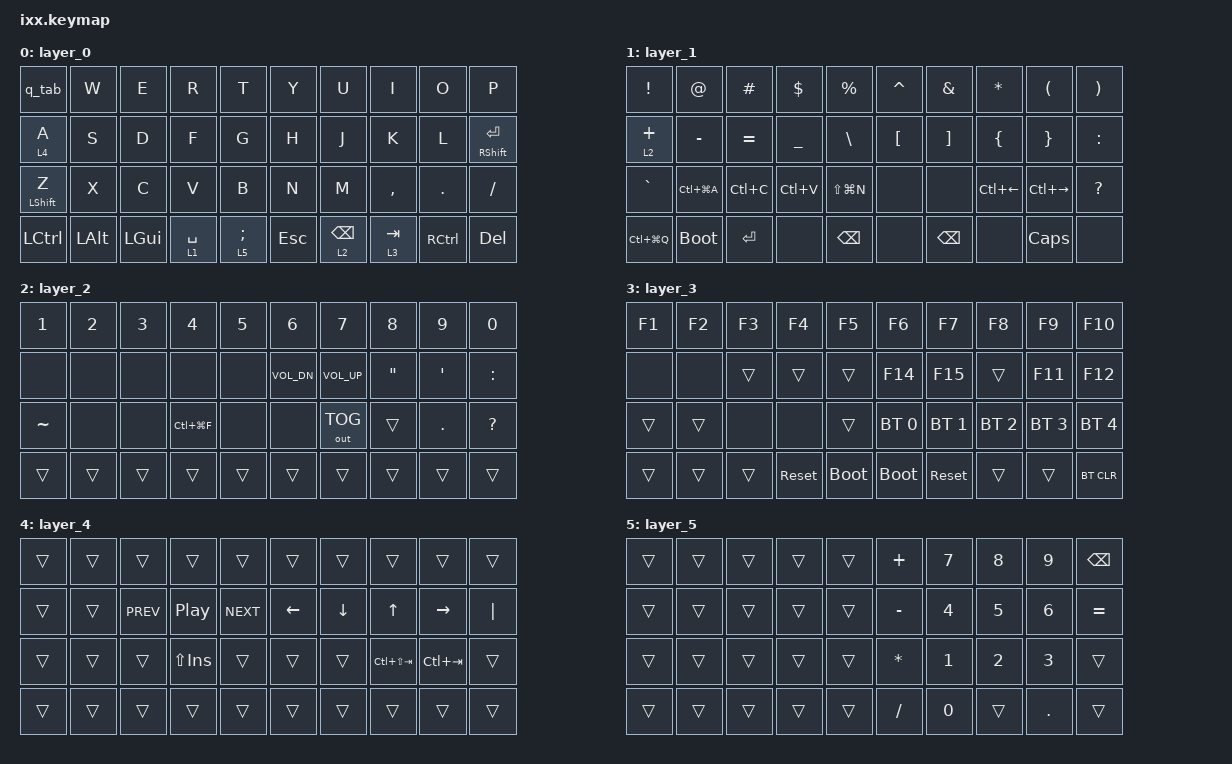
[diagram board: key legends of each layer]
#include <behaviors.dtsi>
#include <dt-bindings/zmk/bt.h>
#include <dt-bindings/zmk/keys.h>
#include <dt-bindings/zmk/outputs.h>

/ {
    behaviors {
        q_tab: q_tab {
            compatible = "zmk,behavior-mod-morph";
            label = "Q_TAB";
            bindings = <&kp Q>, <&kp TAB>;

            #binding-cells = <0>;
            mods = <(MOD_LGUI)>;
            keep-mods = <(MOD_LGUI)>;
        };
    };

    keymap {
        compatible = "zmk,keymap";

        layer_0 {
            bindings = <
  &q_tab            &kp W         &kp E         &kp R        &kp T         &kp Y    &kp U            &kp I      &kp O      &kp P
  &lt 4 A           &kp S         &kp D         &kp F        &kp G         &kp H    &kp J            &kp K      &kp L      &mt RIGHT_SHIFT RETURN
  &mt LEFT_SHIFT Z  &kp X         &kp C         &kp V        &kp B         &kp N    &kp M            &kp COMMA  &kp DOT    &kp SLASH
  &kp LCTRL         &kp LEFT_ALT  &kp LEFT_GUI  &lt 1 SPACE  &lt 5 SEMI    &kp ESC  &lt 2 BACKSPACE  &lt 3 TAB  &kp RCTRL  &kp DELETE
            >;
        };

        layer_1 {
            bindings = <
  &kp EXCLAMATION  &kp AT_SIGN    &kp HASH   &kp DOLLAR  &kp PERCENT      &kp CARET  &kp AMPS       &kp ASTRK     &kp LPAR       &kp RPAR
  &lt 2 PLUS       &kp MINUS      &kp EQUAL  &kp UNDER   &kp BSLH         &kp LBKT   &kp RBKT       &kp LBRC      &kp RBRC       &kp COLON
  &kp GRAVE        &kp LC(LG(A))  &kp LC(C)  &kp LC(V)   &kp LS(LG(N))    &none      &none          &kp LC(LEFT)  &kp LC(RIGHT)  &kp QMARK
  &kp LC(LG(Q))    &bootloader    &kp ENTER  &none       &kp BACKSPACE    &none      &kp BACKSPACE  &none         &kp CAPS       &none
            >;
        };

        layer_2 {
            bindings = <
  &kp NUMBER_1  &kp NUMBER_2  &kp NUMBER_3  &kp NUMBER_4   &kp NUMBER_5    &kp NUMBER_6  &kp NUMBER_7  &kp NUMBER_8       &kp NUMBER_9  &kp NUMBER_0
  &none         &none         &none         &none          &none           &kp C_VOL_DN  &kp C_VOL_UP  &kp DOUBLE_QUOTES  &kp SQT       &kp COLON
  &kp TILDE     &none         &none         &kp LC(LG(F))  &none           &none         &out OUT_TOG  &trans             &kp DOT       &kp QUESTION
  &trans        &trans        &trans        &trans         &trans          &trans        &trans        &trans             &trans        &trans
            >;
        };

        layer_3 {
            bindings = <
  &kp F1  &kp F2  &kp F3  &kp F4      &kp F5         &kp F6        &kp F7        &kp F8        &kp F9        &kp F10
  &none   &none   &trans  &trans      &trans         &kp F14       &kp F15       &trans        &kp F11       &kp F12
  &trans  &trans  &none   &none       &trans         &bt BT_SEL 0  &bt BT_SEL 1  &bt BT_SEL 2  &bt BT_SEL 3  &bt BT_SEL 4
  &trans  &trans  &trans  &sys_reset  &bootloader    &bootloader   &sys_reset    &trans        &trans        &bt BT_CLR
            >;
        };

        layer_4 {
            bindings = <
  &trans  &trans  &trans      &trans          &trans        &trans    &trans    &trans           &trans       &trans
  &trans  &trans  &kp C_PREV  &kp C_PP        &kp C_NEXT    &kp LEFT  &kp DOWN  &kp UP           &kp RIGHT    &kp PIPE
  &trans  &trans  &trans      &kp LS(INSERT)  &trans        &trans    &trans    &kp LC(LS(TAB))  &kp LC(TAB)  &trans
  &trans  &trans  &trans      &trans          &trans        &trans    &trans    &trans           &trans       &trans
            >;
        };

        layer_5 {
            bindings = <
  &trans  &trans  &trans  &trans  &trans    &kp PLUS      &kp NUMBER_7  &kp NUMBER_8  &kp NUMBER_9  &kp BACKSPACE
  &trans  &trans  &trans  &trans  &trans    &kp MINUS     &kp NUMBER_4  &kp NUMBER_5  &kp NUMBER_6  &kp EQUAL
  &trans  &trans  &trans  &trans  &trans    &kp ASTERISK  &kp NUMBER_1  &kp NUMBER_2  &kp NUMBER_3  &trans
  &trans  &trans  &trans  &trans  &trans    &kp SLASH     &kp NUMBER_0  &trans        &kp DOT       &trans
            >;
        };
    };
};
